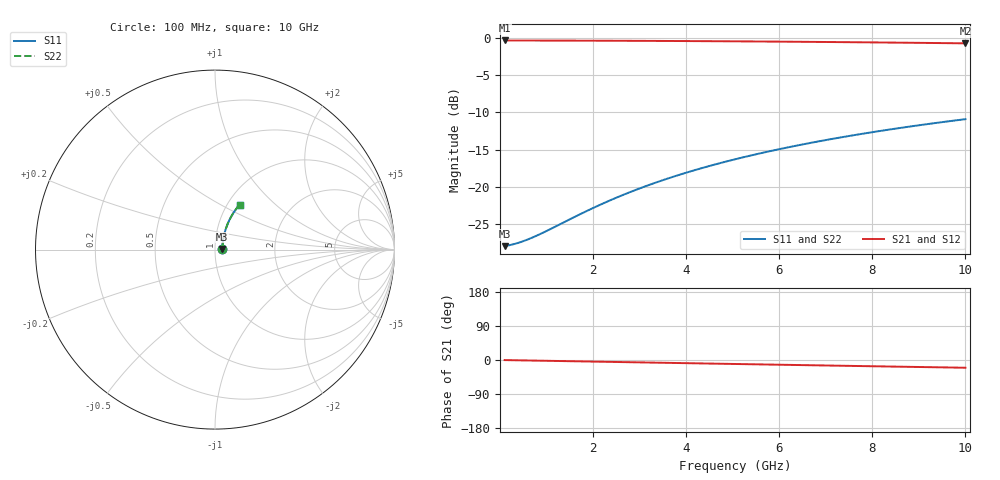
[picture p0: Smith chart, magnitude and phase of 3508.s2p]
# Hz S RI R 50.00
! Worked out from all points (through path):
!   100 points, 100 MHz to 10 GHz, reference 50 ohm
!   highest |S21| = -0.35 dB at 100 MHz (marker M1); lowest = -0.7 dB at 10 GHz (marker M2)
!   group delay of S21, straight-line fit = 5.68 ps
!   lowest |S11| = -28.0 dB at 100 MHz (marker M3), VSWR 1.08, Z = 54.2 + j0.305 ohm
!   |S11| at or under -10 dB: start of sweep to end of sweep
!   |S22| runs from -28.0 to -10.9 dB; largest |S21 - S12| = 0
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1e8  0.0399 0.00281  0.9601 -0.00352  0.9601 -0.00352  0.0399 0.00281
3e8  0.0405 0.00843  0.9595 -0.0105  0.9595 -0.0105  0.0405 0.00843
4e8  0.0407 0.0112  0.9593 -0.0141  0.9593 -0.0141  0.0407 0.0112
5e8  0.0409 0.014  0.9591 -0.0176  0.9591 -0.0176  0.0409 0.014
7e8  0.0413 0.0196  0.9586 -0.0246  0.9586 -0.0246  0.0413 0.0196
1e9  0.0421 0.028  0.9578 -0.0351  0.9578 -0.0351  0.0421 0.028
1.8e9  0.0449 0.0503  0.955 -0.0629  0.955 -0.0629  0.0449 0.0503
2.2e9  0.0467 0.0613  0.9532 -0.0768  0.9532 -0.0768  0.0467 0.0613
2.6e9  0.0488 0.0723  0.951 -0.0906  0.951 -0.0906  0.0488 0.0723
3e9  0.0512 0.0831  0.9486 -0.1043  0.9486 -0.1043  0.0512 0.0831
3.4e9  0.0539 0.0939  0.9458 -0.1179  0.9458 -0.1179  0.0539 0.0939
3.8e9  0.0569 0.1046  0.9427 -0.1313  0.9427 -0.1313  0.0569 0.1046
4.2e9  0.0602 0.1152  0.9393 -0.1447  0.9393 -0.1447  0.0602 0.1152
4.6e9  0.0638 0.1256  0.9357 -0.158  0.9357 -0.158  0.0638 0.1256
5.1e9  0.0686 0.1384  0.9307 -0.1744  0.9307 -0.1744  0.0686 0.1384
5.5e9  0.0728 0.1485  0.9264 -0.1873  0.9264 -0.1873  0.0728 0.1485
5.9e9  0.0773 0.1585  0.9218 -0.2001  0.9218 -0.2001  0.0773 0.1585
6.7e9  0.087 0.1779  0.9118 -0.2251  0.9118 -0.2251  0.087 0.1779
7.5e9  0.0978 0.1966  0.9008 -0.2495  0.9008 -0.2495  0.0978 0.1966
8.4e9  0.1109 0.2166  0.8872 -0.2759  0.8872 -0.2759  0.1109 0.2166
9.2e9  0.1235 0.2335  0.8743 -0.2986  0.8743 -0.2986  0.1235 0.2335
1e10  0.1369 0.2496  0.8605 -0.3203  0.8605 -0.3203  0.1369 0.2496
